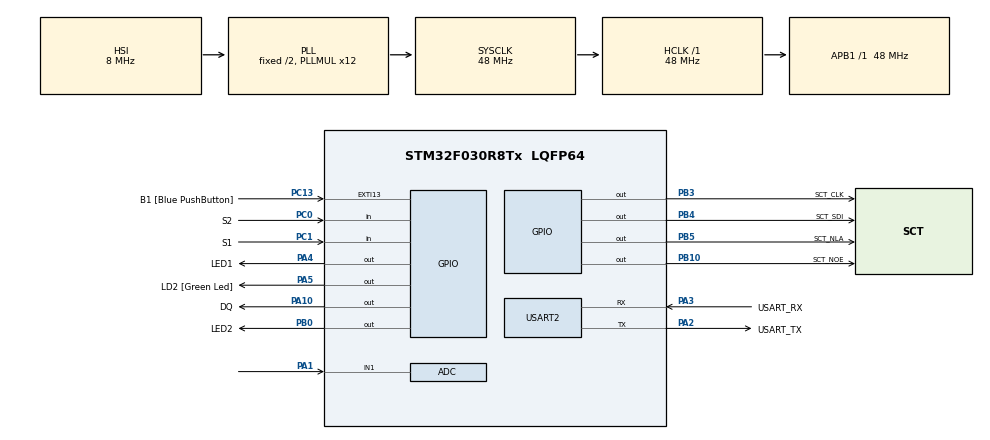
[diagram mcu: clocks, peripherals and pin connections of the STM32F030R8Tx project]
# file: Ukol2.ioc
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ADC.ContinuousConvMode=ENABLE
ADC.Resolution=ADC_RESOLUTION_10B
ADC.SamplingTime=ADC_SAMPLETIME_1CYCLE_5
Mcu.Family=STM32F0
Mcu.Name=STM32F030R8Tx
Mcu.Package=LQFP64
NVIC.ADC1_IRQn=true\:0\:0\:false\:false\:true\:true\:true\:true
PA1.Mode=IN1
PA1.Signal=ADC_IN1
PA10.GPIO_Label=DQ
PA10.Signal=GPIO_Output
PA13.GPIO_Label=TMS
PA13.Mode=Serial_Wire
PA13.Signal=SYS_SWDIO
PA14.GPIO_Label=TCK
PA14.Mode=Serial_Wire
PA14.Signal=SYS_SWCLK
PA2.GPIO_Label=USART_TX
PA2.GPIO_Mode=GPIO_MODE_AF_PP
PA2.GPIO_PuPd=GPIO_NOPULL
PA2.GPIO_Speed=GPIO_SPEED_FREQ_LOW
PA2.Mode=Asynchronous
PA2.Signal=USART2_TX
PA3.GPIO_Label=USART_RX
PA3.GPIO_Mode=GPIO_MODE_AF_PP
PA3.GPIO_PuPd=GPIO_NOPULL
PA3.GPIO_Speed=GPIO_SPEED_FREQ_LOW
PA3.Mode=Asynchronous
PA3.Signal=USART2_RX
PA4.GPIO_Label=LED1
PA4.Signal=GPIO_Output
PA5.GPIO_Label=LD2 [Green Led]
PA5.GPIO_Mode=GPIO_MODE_OUTPUT_PP
PA5.GPIO_PuPd=GPIO_NOPULL
PA5.GPIO_Speed=GPIO_SPEED_FREQ_LOW
PA5.Signal=GPIO_Output
PB0.GPIO_Label=LED2
PB0.Signal=GPIO_Output
PB10.GPIO_Label=SCT_NOE
PB10.Signal=GPIO_Output
PB3.GPIO_Label=SCT_CLK
PB3.Signal=GPIO_Output
PB4.GPIO_Label=SCT_SDI
PB4.GPIO_ModeDefaultOutputPP=GPIO_MODE_OUTPUT_PP
PB4.Signal=GPIO_Output
PB5.GPIO_Label=SCT_NLA
PB5.Signal=GPIO_Output
PC0.GPIO_Label=S2
PC0.GPIO_PuPd=GPIO_PULLUP
PC0.Signal=GPIO_Input
PC1.GPIO_Label=S1
PC1.GPIO_PuPd=GPIO_PULLUP
PC1.Signal=GPIO_Input
PC13.GPIO_Label=B1 [Blue PushButton]
PC13.GPIO_ModeDefaultEXTI=GPIO_MODE_IT_FALLING
PC13.Signal=GPXTI13
PC14-OSC32_IN.Mode=LSE-External-Oscillator
PC14-OSC32_IN.Signal=RCC_OSC32_IN
PC15-OSC32_OUT.Mode=LSE-External-Oscillator
PC15-OSC32_OUT.Signal=RCC_OSC32_OUT
PF0-OSC_IN.Mode=HSE-External-Clock-Source
PF0-OSC_IN.Signal=RCC_OSC_IN
PF1-OSC_OUT.Signal=RCC_OSC_OUT
ProjectManager.HeapSize=0x200
ProjectManager.StackSize=0x400
ProjectManager.TargetToolchain=STM32CubeIDE
RCC.AHBFreq_Value=48000000
RCC.APB1Freq_Value=48000000
RCC.APB1TimFreq_Value=48000000
RCC.HCLKFreq_Value=48000000
RCC.PLLMUL=RCC_PLL_MUL12
RCC.SYSCLKFreq_VALUE=48000000
RCC.SYSCLKSource=RCC_SYSCLKSOURCE_PLLCLK
USART2.VirtualMode-Asynchronous=VM_ASYNC
board=NUCLEO-F030R8

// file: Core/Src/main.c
/* USER CODE BEGIN Header */
/**
 ******************************************************************************
 * @file           : main.c
 * @brief          : Main program body
 ******************************************************************************
 * @attention
 *
 * Copyright (c) 2024 STMicroelectronics.
 * All rights reserved.
 *
 * This software is licensed under terms that can be found in the LICENSE file
 * in the root directory of this software component.
 * If no LICENSE file comes with this software, it is provided AS-IS.
 *
 ******************************************************************************
 */
/* USER CODE END Header */
#include "main.h"

/* USER CODE BEGIN Includes */
#include "sct.h"
#include "1wire.h"
/* USER CODE END Includes */

/* USER CODE BEGIN PD */
#define CONVERT_T_DELAY 750
#define NTC_T_DELAY 100
#define NON_BLOCK_DELAY 80
/* USER CODE END PD */

ADC_HandleTypeDef hadc;

UART_HandleTypeDef huart2;

void SystemClock_Config(void);
static void MX_GPIO_Init(void);
static void MX_USART2_UART_Init(void);
static void MX_ADC_Init(void);

int main(void)
{

	/* MCU Configuration--------------------------------------------------------*/

	/* Reset of all peripherals, Initializes the Flash interface and the Systick. */
	HAL_Init();

	/* Configure the system clock */
	SystemClock_Config();

	/* Initialize all configured peripherals */
	MX_GPIO_Init();
	MX_USART2_UART_Init();
	MX_ADC_Init();
	/* USER CODE BEGIN 2 */
	OWInit();
	sct_init();
	HAL_ADCEx_Calibration_Start(&hadc);
	HAL_ADC_Start(&hadc);
	/* USER CODE END 2 */

	/* Infinite loop */
	while (1)
	{

		/* USER CODE BEGIN 3 */

		static uint32_t ADC_temp_read;
		static const int16_t ntc_lookup[] = {
#include "data.dlm"
		};

		int16_t DS18B20_temp;

		static uint32_t delay;
		static uint32_t delay2;

		static enum {DS18B20, NTC} state = DS18B20;

		//		switch(state)
		//		{
		//		case DS18B20:
		//			OWConvertAll();
		//			HAL_Delay(CONVERT_T_DELAY);
		//			OWReadTemperature(&DS18B20_temp);
		//			sct_value(DS18B20_temp/10,0,2);
		//			break;
		//
		//		case NTC:
		//			ADC_temp_read = HAL_ADC_GetValue(&hadc);
		//			HAL_Delay(NTC_T_DELAY);
		//			sct_value(ntc_lookup[ADC_temp_read],0,2);
		//			break;
		//		}

		switch(state)
		{
		case DS18B20:
			if(HAL_GetTick() > delay2 + CONVERT_T_DELAY)
			{
				OWConvertAll();
				OWReadTemperature(&DS18B20_temp);
				delay2 = HAL_GetTick();
			}
			sct_value(DS18B20_temp/10,0,2);
			break;

		case NTC:
			if(HAL_GetTick() > delay2 + NTC_T_DELAY)
			{
				ADC_temp_read = HAL_ADC_GetValue(&hadc);
				delay2 = HAL_GetTick();
			}
			sct_value(ntc_lookup[ADC_temp_read],0,2);
			break;
		}

		if(HAL_GetTick() > delay + NON_BLOCK_DELAY)
		{
			if(HAL_GPIO_ReadPin(S1_GPIO_Port, S1_Pin) == 0)
			{
				state = DS18B20;
				delay = HAL_GetTick();
				HAL_GPIO_WritePin(LED1_GPIO_Port, LED1_Pin, 0);
				HAL_GPIO_WritePin(LED2_GPIO_Port, LED2_Pin, 1);
			}

			else if(HAL_GPIO_ReadPin(S2_GPIO_Port, S2_Pin) == 0)
			{
				state = NTC;
				delay = HAL_GetTick();
				HAL_GPIO_WritePin(LED1_GPIO_Port, LED1_Pin, 1);
				HAL_GPIO_WritePin(LED2_GPIO_Port, LED2_Pin, 0);
			}
		}
	}
	/* USER CODE END 3 */
}

void SystemClock_Config(void)
{
	RCC_OscInitTypeDef RCC_OscInitStruct = {0};
	RCC_ClkInitTypeDef RCC_ClkInitStruct = {0};

	/** Initializes the RCC Oscillators according to the specified parameters
	 * in the RCC_OscInitTypeDef structure.
	 */
	RCC_OscInitStruct.OscillatorType = RCC_OSCILLATORTYPE_HSI|RCC_OSCILLATORTYPE_HSI14;
	RCC_OscInitStruct.HSIState = RCC_HSI_ON;
	RCC_OscInitStruct.HSI14State = RCC_HSI14_ON;
	RCC_OscInitStruct.HSICalibrationValue = RCC_HSICALIBRATION_DEFAULT;
	RCC_OscInitStruct.HSI14CalibrationValue = 16;
	RCC_OscInitStruct.PLL.PLLState = RCC_PLL_ON;
	RCC_OscInitStruct.PLL.PLLSource = RCC_PLLSOURCE_HSI;
	RCC_OscInitStruct.PLL.PLLMUL = RCC_PLL_MUL12;
	RCC_OscInitStruct.PLL.PREDIV = RCC_PREDIV_DIV1;
	if (HAL_RCC_OscConfig(&RCC_OscInitStruct) != HAL_OK)
	{
		Error_Handler();
	}

	/** Initializes the CPU, AHB and APB buses clocks
	 */
	RCC_ClkInitStruct.ClockType = RCC_CLOCKTYPE_HCLK|RCC_CLOCKTYPE_SYSCLK
			|RCC_CLOCKTYPE_PCLK1;
	RCC_ClkInitStruct.SYSCLKSource = RCC_SYSCLKSOURCE_PLLCLK;
	RCC_ClkInitStruct.AHBCLKDivider = RCC_SYSCLK_DIV1;
	RCC_ClkInitStruct.APB1CLKDivider = RCC_HCLK_DIV1;

	if (HAL_RCC_ClockConfig(&RCC_ClkInitStruct, FLASH_LATENCY_1) != HAL_OK)
	{
		Error_Handler();
	}
}

static void MX_ADC_Init(void)
{

	ADC_ChannelConfTypeDef sConfig = {0};

	/** Configure the global features of the ADC (Clock, Resolution, Data Alignment and number of conversion)
	 */
	hadc.Instance = ADC1;
	hadc.Init.ClockPrescaler = ADC_CLOCK_ASYNC_DIV1;
	hadc.Init.Resolution = ADC_RESOLUTION_10B;
	hadc.Init.DataAlign = ADC_DATAALIGN_RIGHT;
	hadc.Init.ScanConvMode = ADC_SCAN_DIRECTION_FORWARD;
	hadc.Init.EOCSelection = ADC_EOC_SINGLE_CONV;
	hadc.Init.LowPowerAutoWait = DISABLE;
	hadc.Init.LowPowerAutoPowerOff = DISABLE;
	hadc.Init.ContinuousConvMode = ENABLE;
	hadc.Init.DiscontinuousConvMode = DISABLE;
	hadc.Init.ExternalTrigConv = ADC_SOFTWARE_START;
	hadc.Init.ExternalTrigConvEdge = ADC_EXTERNALTRIGCONVEDGE_NONE;
	hadc.Init.DMAContinuousRequests = DISABLE;
	hadc.Init.Overrun = ADC_OVR_DATA_PRESERVED;
	if (HAL_ADC_Init(&hadc) != HAL_OK)
	{
		Error_Handler();
	}

	/** Configure for the selected ADC regular channel to be converted.
	 */
	sConfig.Channel = ADC_CHANNEL_1;
	sConfig.Rank = ADC_RANK_CHANNEL_NUMBER;
	sConfig.SamplingTime = ADC_SAMPLETIME_1CYCLE_5;
	if (HAL_ADC_ConfigChannel(&hadc, &sConfig) != HAL_OK)
	{
		Error_Handler();
	}

}

static void MX_USART2_UART_Init(void)
{

	huart2.Instance = USART2;
	huart2.Init.BaudRate = 38400;
	huart2.Init.WordLength = UART_WORDLENGTH_8B;
	huart2.Init.StopBits = UART_STOPBITS_1;
	huart2.Init.Parity = UART_PARITY_NONE;
	huart2.Init.Mode = UART_MODE_TX_RX;
	huart2.Init.HwFlowCtl = UART_HWCONTROL_NONE;
	huart2.Init.OverSampling = UART_OVERSAMPLING_16;
	huart2.Init.OneBitSampling = UART_ONE_BIT_SAMPLE_DISABLE;
	huart2.AdvancedInit.AdvFeatureInit = UART_ADVFEATURE_NO_INIT;
	if (HAL_UART_Init(&huart2) != HAL_OK)
	{
		Error_Handler();
	}

}

static void MX_GPIO_Init(void)
{
	GPIO_InitTypeDef GPIO_InitStruct = {0};

	/* GPIO Ports Clock Enable */
	__HAL_RCC_GPIOC_CLK_ENABLE();
	__HAL_RCC_GPIOF_CLK_ENABLE();
	__HAL_RCC_GPIOA_CLK_ENABLE();
	__HAL_RCC_GPIOB_CLK_ENABLE();

	/*Configure GPIO pin Output Level */
	HAL_GPIO_WritePin(GPIOA, LED1_Pin|LD2_Pin|DQ_Pin, GPIO_PIN_RESET);

	/*Configure GPIO pin Output Level */
	HAL_GPIO_WritePin(GPIOB, LED2_Pin|SCT_NOE_Pin|SCT_CLK_Pin|SCT_SDI_Pin
			|SCT_NLA_Pin, GPIO_PIN_RESET);

	/*Configure GPIO pin : B1_Pin */
	GPIO_InitStruct.Pin = B1_Pin;
	GPIO_InitStruct.Mode = GPIO_MODE_IT_FALLING;
	GPIO_InitStruct.Pull = GPIO_NOPULL;
	HAL_GPIO_Init(B1_GPIO_Port, &GPIO_InitStruct);

	/*Configure GPIO pins : S2_Pin S1_Pin */
	GPIO_InitStruct.Pin = S2_Pin|S1_Pin;
	GPIO_InitStruct.Mode = GPIO_MODE_INPUT;
	GPIO_InitStruct.Pull = GPIO_PULLUP;
	HAL_GPIO_Init(GPIOC, &GPIO_InitStruct);

	/*Configure GPIO pins : LED1_Pin LD2_Pin DQ_Pin */
	GPIO_InitStruct.Pin = LED1_Pin|LD2_Pin|DQ_Pin;
	GPIO_InitStruct.Mode = GPIO_MODE_OUTPUT_PP;
	GPIO_InitStruct.Pull = GPIO_NOPULL;
	GPIO_InitStruct.Speed = GPIO_SPEED_FREQ_LOW;
	HAL_GPIO_Init(GPIOA, &GPIO_InitStruct);

	/*Configure GPIO pins : LED2_Pin SCT_NOE_Pin SCT_CLK_Pin SCT_SDI_Pin
                           SCT_NLA_Pin */
	GPIO_InitStruct.Pin = LED2_Pin|SCT_NOE_Pin|SCT_CLK_Pin|SCT_SDI_Pin
			|SCT_NLA_Pin;
	GPIO_InitStruct.Mode = GPIO_MODE_OUTPUT_PP;
	GPIO_InitStruct.Pull = GPIO_NOPULL;
	GPIO_InitStruct.Speed = GPIO_SPEED_FREQ_LOW;
	HAL_GPIO_Init(GPIOB, &GPIO_InitStruct);

}

void Error_Handler(void)
{
	__disable_irq();
	while (1)
	{
	}
}
